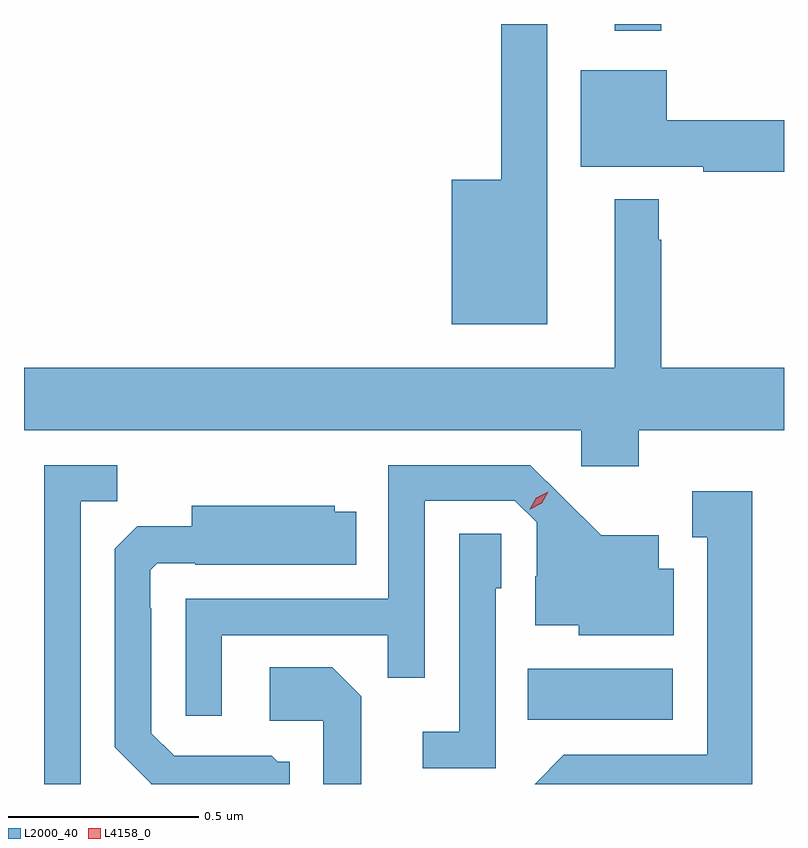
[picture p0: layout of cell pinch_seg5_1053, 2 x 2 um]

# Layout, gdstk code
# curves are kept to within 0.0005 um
import gdstk
lib = gdstk.Library(unit=1e-6, precision=1e-09)
def R(c, l, rs):  # rectangles x0, y0, x1, y1
    for r in rs: c.add(gdstk.rectangle(r[:2], r[2:], *l))
def P(c, l, *ps):  # polygons
    for p in ps: c.add(gdstk.Polygon(p, *l))
L2000_40 = (2000, 40)
L4158_0 = (4158, 0)

pinch_seg5_1053 = lib.new_cell('pinch_seg5_1053')
R(pinch_seg5_1053, L2000_40, [(748.756,841.346,749.137,841.48), (748.985,843.159,749.107,843.177)])
P(pinch_seg5_1053, L2000_40, [(748.807,843.177),(748.686,843.177),(748.686,842.767),(748.556,842.767),(748.556,842.387),(748.807,842.387)],
  [(749.43,842.924),(749.122,842.924),(749.122,843.055),(748.895,843.055),(748.895,842.801),(749.218,842.801),(749.218,842.788),(749.43,842.788)],
  [(749.048,842.108),(749.43,842.108),(749.43,842.272),(749.107,842.272),(749.107,842.609),(749.1,842.609),(749.1,842.716),(748.985,842.716),(748.985,842.272),(747.43,842.272),(747.43,842.108),(748.896,842.108),(748.896,842.013),(749.048,842.013)],
  [(747.951,841.569),(748.387,841.569),(748.387,841.456),(748.485,841.456),(748.485,841.923),(748.722,841.923),(748.779,841.866),(748.779,841.724),(748.775,841.724),(748.775,841.595),(748.89,841.595),(748.89,841.568),(749.14,841.568),(749.14,841.744),(749.101,841.744),(749.101,841.831),(748.949,841.831),(748.762,842.016),(748.389,842.016),(748.389,841.665),(747.855,841.665),(747.855,841.356),(747.951,841.356)],
  [(747.579,841.921),(747.675,841.921),(747.675,842.016),(747.483,842.016),(747.483,841.177),(747.579,841.177)],
  [(749.347,841.948),(749.189,841.948),(749.189,841.827),(749.228,841.827),(749.228,841.254),(748.851,841.254),(748.774,841.177),(749.347,841.177)],
  [(748.129,841.236),(748.098,841.236),(748.082,841.252),(747.948,841.252),(747.948,841.251),(747.825,841.251),(747.765,841.311),(747.765,841.64),(747.762,841.64),(747.762,841.74),(747.78,841.758),(747.88,841.758),(747.88,841.754),(748.304,841.754),(748.304,841.894),(748.248,841.894),(748.248,841.909),(747.872,841.909),(747.872,841.855),(747.728,841.855),(747.669,841.796),(747.669,841.274),(747.765,841.177),(748.129,841.177)],
  [(748.671,841.692),(748.686,841.692),(748.686,841.835),(748.575,841.835),(748.575,841.315),(748.479,841.315),(748.479,841.218),(748.671,841.218)],
  [(748.317,841.408),(748.241,841.484),(748.077,841.484),(748.077,841.344),(748.218,841.344),(748.218,841.177),(748.317,841.177)])
P(pinch_seg5_1053, L4158_0, [(748.761,841.9),(748.761,841.9),(748.778,841.93),(748.809,841.946),(748.809,841.946),(748.809,841.946),(748.792,841.916),(748.762,841.9)])

lib.write_gds('pinch_seg5_1053.gds')
